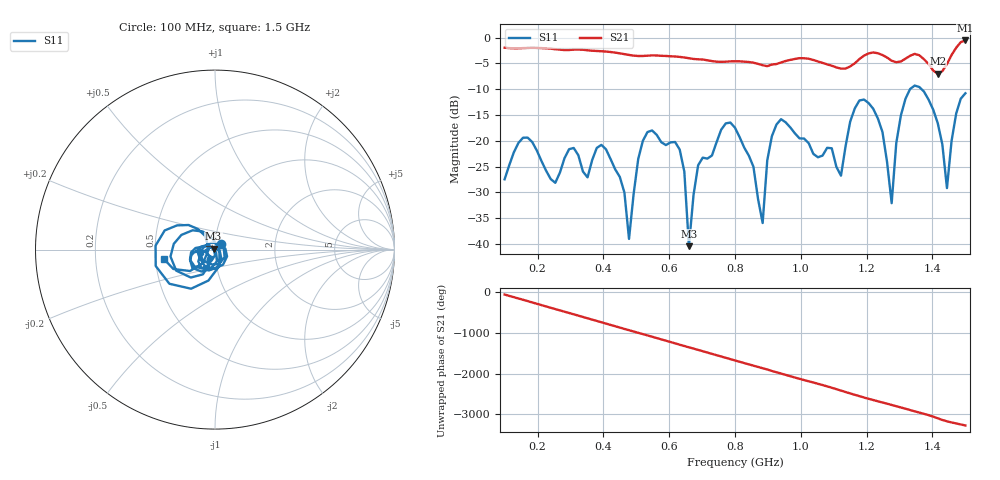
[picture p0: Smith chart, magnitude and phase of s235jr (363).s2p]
! NanoVNA-App
! Date: 2025-09-25 15:06:59
! Start: 100MHz Stop: 1,5GHz Points: 101
! S-Parameter data: F S11 S21 S12 S22
# Hz S RI R 50
!  Frequency  S11_Real  S11_Imag  S21_Real  S21_Imag  S12_Real  S12_Imag  S22_Real  S22_Imag
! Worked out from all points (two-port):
!   101 points, 100 MHz to 1.5 GHz, reference 50 ohm
!   highest |S21| = -0.56 dB at 1.5 GHz (marker M1); lowest = -7.0 dB at 1.416 GHz (marker M2)
!   |S21| within 3 dB of the highest: start of sweep to 503.5 MHz; 1.191 GHz to 1.253 GHz (62.07 MHz wide, 5.08 % of centre) (the widest 2 of 5)
!   lowest |S11| = -40.4 dB at 660 MHz (marker M3), VSWR 1.02, Z = 49.2 + j0.542 ohm
!   |S11| at or under -10 dB: start of sweep to 1.332 GHz; 1.367 GHz to end of sweep
!   S12 and S22 are empty: the file has one direction only
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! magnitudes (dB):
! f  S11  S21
! 100 MHz  -27.5  -2.0
! 156 MHz  -19.4  -2.0
! 338 MHz  -26.0  -2.4
! 408 MHz  -21.6  -2.7
! 478 MHz  -39.0  -3.4
! 520 MHz  -20.0  -3.6
! 576 MHz  -20.3  -3.5
! 632 MHz  -21.7  -3.7
! 660 MHz  -40.4  -4.0
! 688 MHz  -24.7  -4.2
! 800 MHz  -17.5  -4.6
! 884 MHz  -35.9  -5.4
! 926 MHz  -16.9  -5.1
! 1.038 GHz  -22.5  -4.4
! 1.122 GHz  -26.8  -6.0
! 1.192 GHz  -12.0  -3.5
! 1.248 GHz  -18.3  -3.4
! 1.276 GHz  -32.1  -4.5
! 1.332 GHz  -10.0  -3.5
! 1.416 GHz  -16.6  -7.0
! 1.444 GHz  -29.2  -5.1
! 1.5 GHz  -10.8  -0.6
